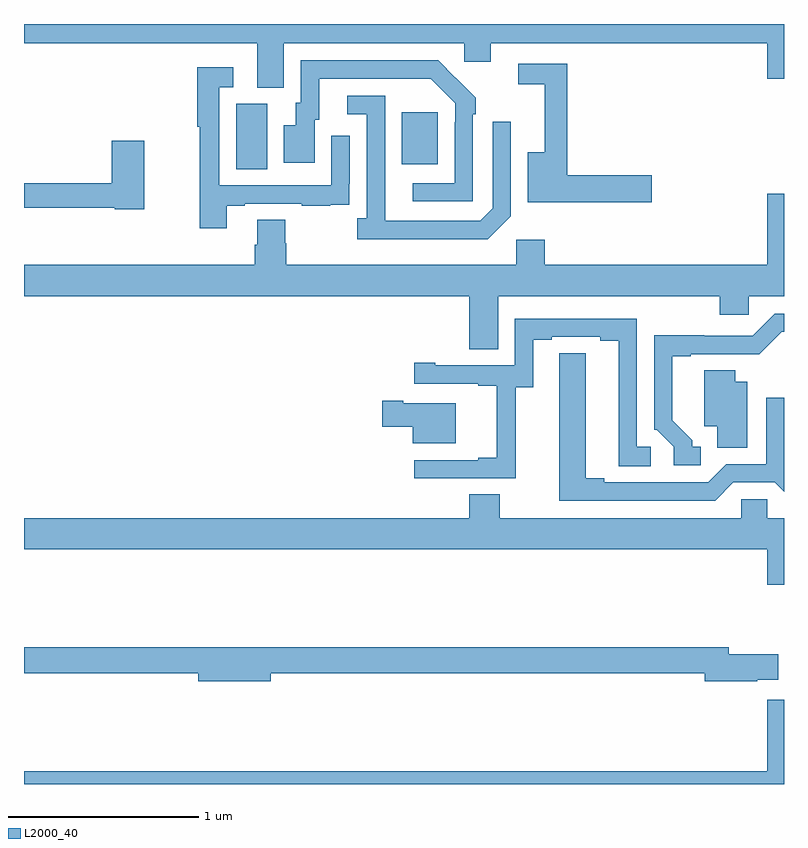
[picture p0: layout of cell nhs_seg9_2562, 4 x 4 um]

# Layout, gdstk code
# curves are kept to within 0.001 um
import gdstk
lib = gdstk.Library(unit=1e-6, precision=1e-09)
def R(c, l, rs):  # rectangles x0, y0, x1, y1
    for r in rs: c.add(gdstk.rectangle(r[:2], r[2:], *l))
def P(c, l, *ps):  # polygons
    for p in ps: c.add(gdstk.Polygon(p, *l))
L2000_40 = (2000, 40)

nhs_seg9_2562 = lib.new_cell('nhs_seg9_2562')
R(nhs_seg9_2562, L2000_40, [(258.116,1215.736,258.28,1216.08), (258.989,1215.761,259.177,1216.036)])
P(nhs_seg9_2562, L2000_40, [(258.367,1216.4),(259.317,1216.4),(259.317,1216.302),(259.456,1216.302),(259.456,1216.4),(260.912,1216.4),(260.912,1216.212),(261,1216.212),(261,1216.5),(257,1216.5),(257,1216.4),(258.227,1216.4),(258.227,1216.165),(258.367,1216.165)],
  [(259.362,1216.025),(259.377,1216.025),(259.377,1216.113),(259.18,1216.308),(258.456,1216.308),(258.456,1216.086),(258.431,1216.086),(258.431,1215.967),(258.368,1215.967),(258.368,1215.771),(258.529,1215.771),(258.529,1215.996),(258.553,1215.996),(258.553,1216.212),(259.141,1216.212),(259.269,1216.083),(259.269,1215.983),(259.266,1215.983),(259.266,1215.663),(259.047,1215.663),(259.047,1215.567),(259.362,1215.567)],
  [(260.305,1215.704),(259.859,1215.704),(259.859,1216.29),(259.602,1216.29),(259.602,1216.182),(259.742,1216.182),(259.742,1215.826),(259.652,1215.826),(259.652,1215.562),(260.305,1215.562)],
  [(258.067,1215.543),(258.163,1215.543),(258.163,1215.555),(258.463,1215.555),(258.463,1215.543),(258.611,1215.543),(258.611,1215.549),(258.713,1215.549),(258.713,1215.658),(258.714,1215.658),(258.714,1215.913),(258.618,1215.913),(258.618,1215.651),(258.027,1215.651),(258.027,1216.167),(258.1,1216.167),(258.1,1216.273),(257.911,1216.273),(257.911,1215.96),(257.926,1215.96),(257.926,1215.426),(258.067,1215.426)],
  [(259.563,1215.489),(259.563,1215.985),(259.467,1215.985),(259.467,1215.531),(259.401,1215.465),(258.901,1215.465),(258.9,1216.122),(258.702,1216.122),(258.702,1216.026),(258.804,1216.026),(258.804,1215.478),(258.753,1215.478),(258.753,1215.368),(259.442,1215.368)],
  [(257.632,1215.886),(257.462,1215.886),(257.462,1215.662),(257,1215.662),(257,1215.534),(257.478,1215.534),(257.478,1215.526),(257.632,1215.526)],
  [(259.495,1215.068),(260.663,1215.068),(260.663,1214.97),(260.814,1214.97),(260.814,1215.068),(261,1215.068),(261,1215.607),(260.912,1215.607),(260.912,1215.232),(259.742,1215.232),(259.742,1215.364),(259.59,1215.364),(259.59,1215.232),(258.38,1215.232),(258.38,1215.345),(258.375,1215.345),(258.375,1215.47),(258.227,1215.47),(258.227,1215.338),(258.215,1215.338),(258.215,1215.232),(257,1215.232),(257,1215.068),(259.343,1215.068),(259.343,1214.788),(259.495,1214.788)],
  [(260.563,1214.274),(260.518,1214.274),(260.518,1214.309),(260.413,1214.414),(260.413,1214.751),(260.509,1214.751),(260.509,1214.763),(260.87,1214.762),(260.988,1214.88),(261,1214.88),(261,1214.976),(260.952,1214.976),(260.835,1214.859),(260.579,1214.859),(260.579,1214.861),(260.316,1214.861),(260.316,1214.364),(260.331,1214.364),(260.421,1214.274),(260.421,1214.178),(260.563,1214.178)],
  [(259.587,1214.587),(259.681,1214.587),(259.681,1214.838),(259.777,1214.838),(259.777,1214.853),(260.033,1214.853),(260.033,1214.833),(260.129,1214.833),(260.129,1214.173),(260.299,1214.173),(260.299,1214.274),(260.226,1214.274),(260.226,1214.949),(259.584,1214.949),(259.584,1214.703),(259.165,1214.703),(259.165,1214.716),(259.053,1214.716),(259.053,1214.607),(259.391,1214.607),(259.391,1214.595),(259.487,1214.595),(259.487,1214.218),(259.391,1214.218),(259.391,1214.205),(259.053,1214.205),(259.053,1214.109),(259.587,1214.109)],
  [(260.733,1214.088),(260.951,1214.088),(261,1214.039),(261,1214.533),(260.907,1214.533),(260.907,1214.184),(260.697,1214.184),(260.601,1214.088),(260.053,1214.088),(260.053,1214.108),(259.957,1214.108),(259.957,1214.768),(259.818,1214.768),(259.817,1213.992),(260.637,1213.992)],
  [(260.806,1214.617),(260.743,1214.617),(260.743,1214.678),(260.579,1214.678),(260.579,1214.384),(260.648,1214.384),(260.648,1214.269),(260.806,1214.269)],
  [(259.273,1214.503),(258.997,1214.503),(258.997,1214.516),(258.885,1214.516),(258.885,1214.381),(259.046,1214.381),(259.046,1214.294),(259.273,1214.294)],
  [(261,1213.9),(260.913,1213.9),(260.913,1213.998),(260.775,1213.998),(260.775,1213.9),(259.503,1213.9),(259.503,1214.024),(259.343,1214.024),(259.343,1213.9),(257,1213.9),(257,1213.736),(260.912,1213.736),(260.912,1213.548),(261,1213.548)],
  [(258.298,1213.084),(260.582,1213.084),(260.582,1213.042),(260.858,1213.042),(260.858,1213.049),(260.971,1213.049),(260.971,1213.184),(260.71,1213.184),(260.71,1213.22),(257,1213.22),(257,1213.084),(257.918,1213.084),(257.918,1213.042),(258.298,1213.042)],
  [(261,1212.943),(260.912,1212.943),(260.912,1212.568),(257,1212.568),(257,1212.5),(261,1212.5)])

lib.write_gds('nhs_seg9_2562.gds')
